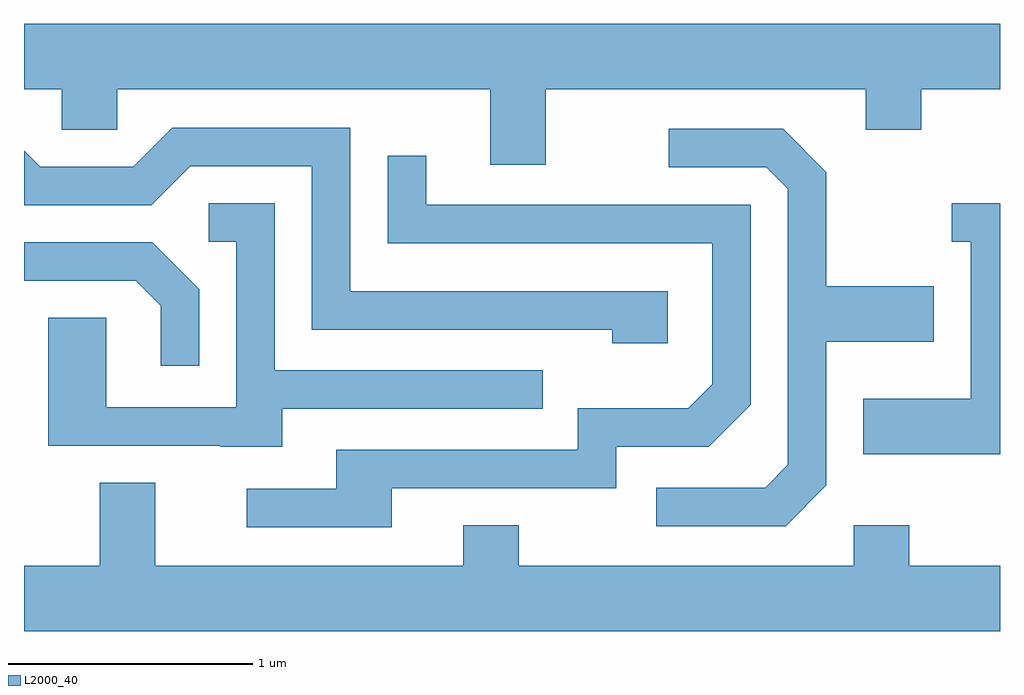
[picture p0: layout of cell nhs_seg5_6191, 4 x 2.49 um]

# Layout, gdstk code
import gdstk
lib = gdstk.Library(unit=1e-6, precision=1e-09)
def P(c, l, *ps):  # polygons
    for p in ps: c.add(gdstk.Polygon(p, *l))
L2000_40 = (2000, 40)

nhs_seg5_6191 = lib.new_cell('nhs_seg5_6191')
P(nhs_seg5_6191, L2000_40, [(371.749,1403.516),(373.061,1403.516),(373.061,1403.351),(373.289,1403.351),(373.289,1403.516),(373.611,1403.516),(373.611,1403.784),(369.611,1403.784),(369.611,1403.516),(369.766,1403.516),(369.766,1403.351),(369.994,1403.351),(369.994,1403.516),(371.521,1403.516),(371.521,1403.206),(371.749,1403.206)],
  [(372.249,1402.689),(370.949,1402.689),(370.949,1403.359),(370.219,1403.359),(370.059,1403.199),(369.677,1403.199),(369.611,1403.265),(369.611,1403.041),(370.132,1403.041),(370.292,1403.201),(370.791,1403.201),(370.791,1402.531),(372.021,1402.531),(372.021,1402.476),(372.249,1402.476)],
  [(372.899,1401.894),(372.899,1402.481),(373.339,1402.481),(373.339,1402.709),(372.899,1402.709),(372.899,1403.177),(372.722,1403.354),(372.253,1403.354),(372.253,1403.196),(372.654,1403.196),(372.741,1403.109),(372.741,1401.977),(372.649,1401.884),(372.203,1401.884),(372.203,1401.726),(372.732,1401.726)],
  [(371.119,1401.881),(372.039,1401.881),(372.039,1402.051),(372.417,1402.051),(372.589,1402.224),(372.589,1403.044),(371.259,1403.044),(371.259,1403.243),(371.101,1403.243),(371.101,1402.886),(372.431,1402.886),(372.431,1402.307),(372.334,1402.209),(371.881,1402.209),(371.881,1402.039),(370.891,1402.039),(370.891,1401.879),(370.523,1401.879),(370.523,1401.721),(371.119,1401.721)],
  [(373.611,1403.049),(373.413,1403.049),(373.413,1402.891),(373.491,1402.891),(373.491,1402.249),(373.051,1402.249),(373.051,1402.021),(373.611,1402.021)],
  [(370.669,1402.206),(371.738,1402.206),(371.738,1402.364),(370.639,1402.364),(370.639,1403.049),(370.368,1403.049),(370.368,1402.891),(370.481,1402.891),(370.481,1402.214),(369.949,1402.214),(369.949,1402.579),(369.711,1402.579),(369.711,1402.056),(370.415,1402.056),(370.415,1402.051),(370.669,1402.051)],
  [(370.329,1402.697),(370.137,1402.889),(369.611,1402.889),(369.611,1402.731),(370.069,1402.731),(370.171,1402.629),(370.171,1402.383),(370.329,1402.383)],
  [(373.611,1401.564),(373.239,1401.564),(373.239,1401.729),(373.011,1401.729),(373.011,1401.564),(371.639,1401.564),(371.639,1401.729),(371.411,1401.729),(371.411,1401.564),(370.149,1401.564),(370.149,1401.904),(369.921,1401.904),(369.921,1401.564),(369.611,1401.564),(369.611,1401.296),(373.611,1401.296)])

lib.write_gds('nhs_seg5_6191.gds')
